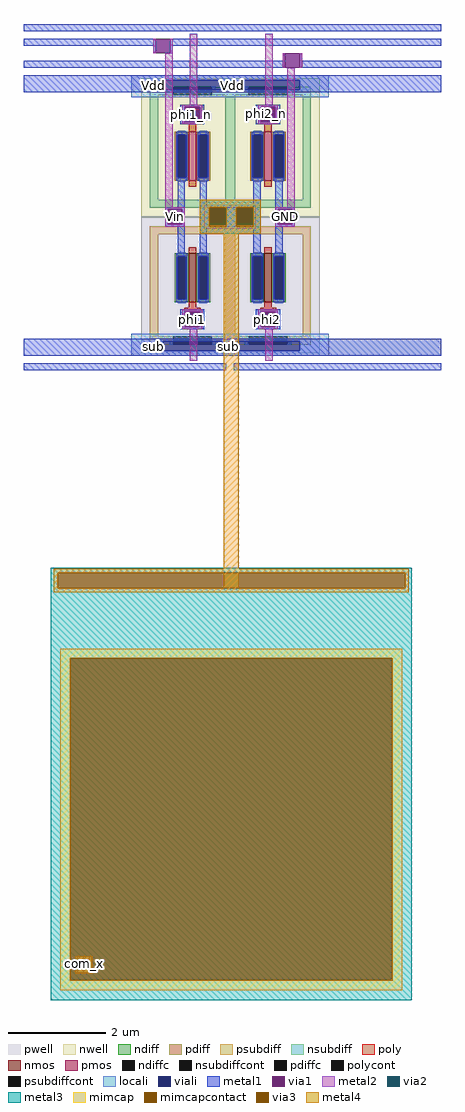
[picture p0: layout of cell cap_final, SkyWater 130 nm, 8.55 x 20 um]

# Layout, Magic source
magic
tech sky130A
magscale 1 2
<< pwell >>
rect 1140 -930 1160 -890
rect 1520 -950 1980 -880
<< locali >>
rect 710 180 1520 200
rect 710 140 840 180
rect 1080 140 1160 180
rect 1400 140 1520 180
rect 710 110 1520 140
rect 710 -890 1520 -860
rect 710 -930 840 -890
rect 1080 -930 1140 -890
rect 1400 -930 1520 -890
rect 710 -950 1520 -930
<< viali >>
rect 840 140 1080 180
rect 1160 140 1400 180
rect 840 -930 1080 -890
rect 1140 -930 1400 -890
<< metal1 >>
rect 270 380 1980 410
rect 270 320 810 350
rect 800 290 810 320
rect 870 320 1980 350
rect 870 290 880 320
rect 1330 260 1340 290
rect 270 230 1340 260
rect 1400 260 1410 290
rect 1400 230 1980 260
rect 270 180 1980 200
rect 270 140 840 180
rect 1080 140 1160 180
rect 1400 140 1980 180
rect 270 130 1980 140
rect 910 70 1010 80
rect 910 10 930 70
rect 990 10 1010 70
rect 910 0 1010 10
rect 1220 70 1320 80
rect 1220 10 1240 70
rect 1300 10 1320 70
rect 1220 0 1320 10
rect 900 -340 930 -220
rect 850 -350 930 -340
rect 850 -410 860 -350
rect 920 -410 930 -350
rect 850 -420 930 -410
rect 900 -540 930 -420
rect 990 -340 1020 -220
rect 1210 -340 1240 -220
rect 990 -350 1240 -340
rect 990 -410 1030 -350
rect 1090 -410 1140 -350
rect 1200 -410 1240 -350
rect 990 -420 1240 -410
rect 990 -540 1020 -420
rect 1210 -540 1240 -420
rect 1300 -340 1330 -220
rect 1300 -350 1380 -340
rect 1300 -410 1310 -350
rect 1370 -410 1380 -350
rect 1300 -420 1380 -410
rect 1300 -540 1330 -420
rect 910 -770 1010 -760
rect 910 -830 930 -770
rect 990 -830 1010 -770
rect 910 -840 1010 -830
rect 1220 -770 1320 -760
rect 1220 -830 1240 -770
rect 1300 -830 1320 -770
rect 1220 -840 1320 -830
rect 270 -890 1980 -880
rect 270 -930 840 -890
rect 1080 -930 1140 -890
rect 1400 -930 1980 -890
rect 270 -950 1980 -930
rect 270 -1010 1100 -980
rect 1130 -1010 1980 -980
<< via1 >>
rect 810 290 870 350
rect 1340 230 1400 290
rect 930 10 990 70
rect 1240 10 1300 70
rect 860 -410 920 -350
rect 1030 -410 1090 -350
rect 1140 -410 1200 -350
rect 1310 -410 1370 -350
rect 930 -830 990 -770
rect 1240 -830 1300 -770
<< metal2 >>
rect 800 290 810 350
rect 870 290 880 350
rect 850 -340 880 290
rect 950 80 980 370
rect 1260 80 1290 370
rect 1330 230 1340 290
rect 1400 230 1410 290
rect 920 70 1000 80
rect 920 10 930 70
rect 990 10 1000 70
rect 920 0 1000 10
rect 1230 70 1310 80
rect 1230 10 1240 70
rect 1300 10 1310 70
rect 1230 0 1310 10
rect 1010 -340 1220 -330
rect 1350 -340 1380 230
rect 850 -350 930 -340
rect 850 -410 860 -350
rect 920 -410 930 -350
rect 850 -420 930 -410
rect 1010 -410 1030 -340
rect 1100 -410 1140 -340
rect 1210 -410 1220 -340
rect 1010 -430 1220 -410
rect 1300 -350 1380 -340
rect 1300 -410 1310 -350
rect 1370 -410 1380 -350
rect 1300 -420 1380 -410
rect 920 -770 1000 -760
rect 920 -830 930 -770
rect 990 -830 1000 -770
rect 920 -840 1000 -830
rect 1230 -770 1310 -760
rect 1230 -830 1240 -770
rect 1300 -830 1310 -770
rect 1230 -840 1310 -830
rect 950 -970 980 -840
rect 1260 -970 1290 -840
<< via2 >>
rect 1030 -350 1100 -340
rect 1030 -410 1090 -350
rect 1090 -410 1100 -350
rect 1140 -350 1210 -340
rect 1140 -410 1200 -350
rect 1200 -410 1210 -350
<< metal3 >>
rect 990 -340 1240 -310
rect 990 -420 1030 -340
rect 1100 -420 1140 -340
rect 1210 -420 1240 -340
rect 990 -450 1240 -420
<< via3 >>
rect 1030 -410 1100 -340
rect 1030 -420 1100 -410
rect 1140 -410 1210 -340
rect 1140 -420 1210 -410
<< metal4 >>
rect 990 -340 1240 -310
rect 990 -420 1030 -340
rect 1100 -420 1140 -340
rect 1210 -420 1240 -340
rect 990 -450 1240 -420
rect 1090 -1900 1150 -450
rect 480 -3480 550 -3410
use sky130_fd_pr__cap_mim_m3_1_BZXSER  sky130_fd_pr__cap_mim_m3_1_BZXSER_0
transform 0 1 1120 1 0 -2704
box -886 -740 886 740
use sky130_fd_pr__nfet_01v8_5WU4M2  sky130_fd_pr__nfet_01v8_5WU4M2_0 ~/final
transform -1 0 1271 0 -1 -661
box -211 -279 211 279
use sky130_fd_pr__pfet_01v8_QKK3FL  sky130_fd_pr__pfet_01v8_QKK3FL_0 ~/final
transform -1 0 1271 0 -1 -96
box -211 -284 211 284
use sky130_fd_pr__pfet_01v8_NKK3FE  XM1 ~/final
transform 1 0 961 0 1 -96
box -211 -284 211 284
use sky130_fd_pr__nfet_01v8_5WP7M2  XM2 ~/final
transform 1 0 961 0 1 -661
box -211 -279 211 279
<< labels >>
flabel metal1 770 -940 830 -880 0 FreeSans 256 0 0 0 sub
port 6 nsew
flabel metal1 770 130 830 190 0 FreeSans 256 0 0 0 Vdd
port 3 nsew
flabel metal1 1100 130 1150 190 0 FreeSans 256 0 0 0 Vdd
port 7 nsew
flabel metal1 862 -408 922 -348 0 FreeSans 256 0 0 0 Vin
port 5 nsew
flabel metal1 1312 -408 1372 -348 0 FreeSans 256 0 0 0 GND
port 9 nsew
flabel metal1 928 8 988 68 0 FreeSans 256 0 0 0 phi1_n
port 4 nsew
flabel metal1 1234 12 1294 72 0 FreeSans 256 0 0 0 phi2_n
port 10 nsew
flabel via1 930 -830 990 -770 0 FreeSans 256 0 0 0 phi1
port 2 nsew
flabel via1 1240 -830 1300 -770 0 FreeSans 256 0 0 0 phi2
port 8 nsew
flabel metal1 1080 -940 1140 -880 0 FreeSans 256 0 0 0 sub
port 1 nsew
flabel metal4 490 -3470 550 -3410 0 FreeSans 256 0 0 0 com_x
port 0 nsew
<< end >>

# cell sky130_fd_pr__cap_mim_m3_1_BZXSER: kit device sky130_fd_pr__cap_mim_m3_1, w 7.00 l 7.00 val 103.32 carea 2.00 cperi 0.19 nx 1 ny 1 dummy 0 square 0 lmin 2.00 wmin 2.00 lmax 30.0 wmax 30.0 dc 0 bconnect 1 tconnect 1 ccov 100

# cell sky130_fd_pr__nfet_01v8_5WU4M2: kit device sky130_fd_pr__nfet_01v8, w 1.0 l 0.15 m 1 nf 1 diffcov 100 polycov 100 guard 1 glc 0 grc 0 gtc 1 gbc 0 tbcov 100 rlcov 100 topc 1 botc 0 poverlap 0 doverlap 1 lmin 0.15 wmin 0.42 compatible {sky130_fd_pr__nfet_01v8 sky130_fd_pr__nfet_01v8_lvt sky130_fd_bs_flash__special_sonosfet_star sky130_fd_pr__nfet_g5v0d10v5 sky130_fd_pr__nfet_05v0_nvt sky130_fd_pr__nfet_03v3_nvt} full_metal 0 viasrc 100 viadrn 100 viagate 100 viagb 0 viagr 0 viagl 0 viagt 0

# cell sky130_fd_pr__pfet_01v8_QKK3FL: kit device sky130_fd_pr__pfet_01v8, w 1.0 l 0.15 m 1 nf 1 diffcov 100 polycov 100 guard 1 glc 0 grc 0 gtc 0 gbc 1 tbcov 100 rlcov 100 topc 0 botc 1 poverlap 0 doverlap 1 lmin 0.15 wmin 0.42 compatible {sky130_fd_pr__pfet_01v8 sky130_fd_pr__pfet_01v8_lvt sky130_fd_pr__pfet_01v8_hvt sky130_fd_pr__pfet_g5v0d10v5} full_metal 0 viasrc 100 viadrn 100 viagate 100 viagb 0 viagr 0 viagl 0 viagt 0

# cell sky130_fd_pr__pfet_01v8_NKK3FE: kit device sky130_fd_pr__pfet_01v8, w 1.0 l 0.15 m 1 nf 1 diffcov 100 polycov 100 guard 1 glc 0 grc 0 gtc 1 gbc 0 tbcov 100 rlcov 100 topc 1 botc 0 poverlap 0 doverlap 1 lmin 0.15 wmin 0.42 compatible {sky130_fd_pr__pfet_01v8 sky130_fd_pr__pfet_01v8_lvt sky130_fd_pr__pfet_01v8_hvt sky130_fd_pr__pfet_g5v0d10v5} full_metal 0 viasrc 100 viadrn 100 viagate 100 viagb 0 viagr 0 viagl 0 viagt 0

# cell sky130_fd_pr__nfet_01v8_5WP7M2: kit device sky130_fd_pr__nfet_01v8, w 1.0 l 0.15 m 1 nf 1 diffcov 100 polycov 100 guard 1 glc 0 grc 0 gtc 0 gbc 1 tbcov 100 rlcov 100 topc 0 botc 1 poverlap 0 doverlap 1 lmin 0.15 wmin 0.42 compatible {sky130_fd_pr__nfet_01v8 sky130_fd_pr__nfet_01v8_lvt sky130_fd_bs_flash__special_sonosfet_star sky130_fd_pr__nfet_g5v0d10v5 sky130_fd_pr__nfet_05v0_nvt sky130_fd_pr__nfet_03v3_nvt} full_metal 0 viasrc 100 viadrn 100 viagate 100 viagb 0 viagr 0 viagl 0 viagt 0
